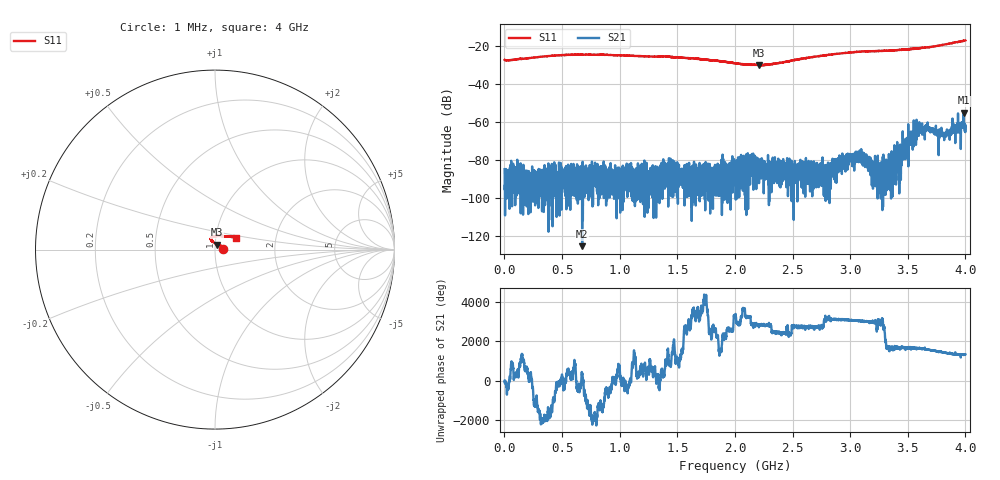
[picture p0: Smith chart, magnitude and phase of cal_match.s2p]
!Created with skrf (http://scikit-rf.org).
# GHz S RI R 50.0
!freq ReS11 ImS11 ReS21 ImS21 ReS12 ImS12 ReS22 ImS22
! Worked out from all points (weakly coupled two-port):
!   4000 points, 1 MHz to 4 GHz, reference 50 ohm
!   highest |S21| = -55.24 dB at 3.984 GHz (marker M1); lowest = -125.4 dB at 674 MHz (marker M2)
!   lowest |S11| = -30.4 dB at 2.209 GHz (marker M3), VSWR 1.06, Z = 51.1 + j2.87 ohm
!   |S11| at or under -10 dB: start of sweep to end of sweep
!   S12 and S22 are empty: the file has one direction only
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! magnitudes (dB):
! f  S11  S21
! 1 MHz  -27.5  -84.9
! 668 MHz  -24.7  -91.0
! 674 MHz  -24.7  -125.4
! 1.334 GHz  -25.8  -88.7
! 2.001 GHz  -29.3  -84.5
! 2.209 GHz  -30.4  -92.3
! 2.667 GHz  -26.0  -83.1
! 2.929 GHz  -24.0  -81.4
! 3.071 GHz  -23.3  -77.7
! 3.165 GHz  -22.9  -79.1
! 3.334 GHz  -22.6  -82.1
! 3.433 GHz  -22.2  -83.0
! 3.512 GHz  -21.9  -72.2
! 3.6 GHz  -21.5  -60.2
! 3.645 GHz  -21.0  -64.6
! 3.672 GHz  -20.9  -60.4
! 3.767 GHz  -20.0  -66.6
! 3.815 GHz  -19.4  -66.3
! 3.861 GHz  -18.9  -65.0
! 3.903 GHz  -18.4  -62.1
! 3.984 GHz  -17.5  -55.2
! 4 GHz  -17.3  -62.0
